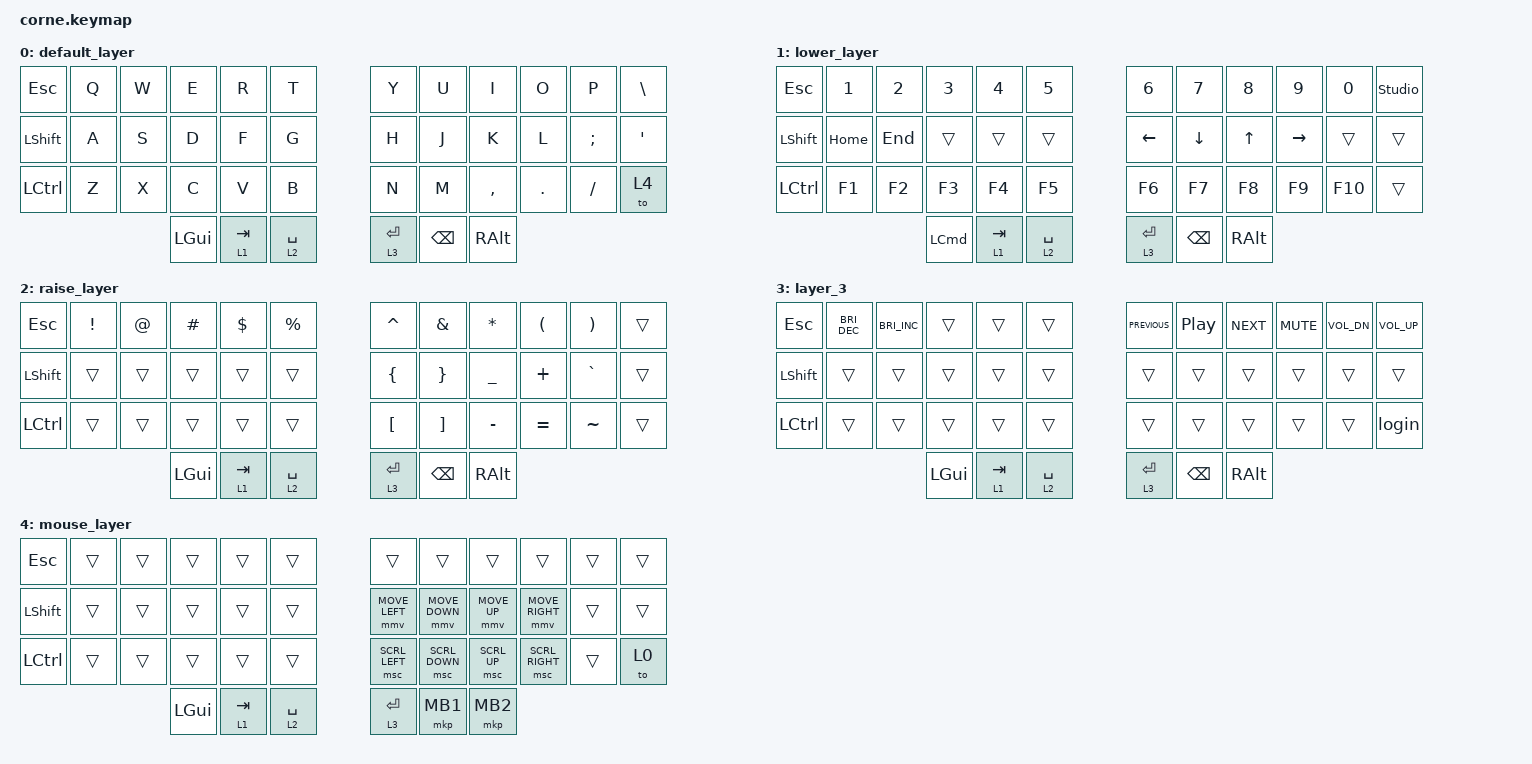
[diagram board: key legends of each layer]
/*
 * Copyright (c) 2020 The ZMK Contributors
 *
 * SPDX-License-Identifier: MIT
 */

#include <behaviors.dtsi>
#include <dt-bindings/zmk/keys.h>
#include <dt-bindings/zmk/pointing.h>

/ {
    macros {
        tmux_leader: new_macro {
            compatible = "zmk,behavior-macro";
            #binding-cells = <0>;
            bindings = <&kp LC(B)>;
            label = "NEW_MACRO";
        };

        tmux_create_window: move_to_window_2 {
            compatible = "zmk,behavior-macro";
            #binding-cells = <0>;
            bindings = <&tmux_leader &kp C>;
            label = "MOVE_TO_WINDOW_2";
        };

        tmux_delete_window: move_to_window_3 {
            compatible = "zmk,behavior-macro";
            #binding-cells = <0>;
            bindings = <&tmux_leader &kp LS(AMPERSAND)>;
            label = "MOVE_TO_WINDOW_3";
        };

        tmux_next_window: move_to_window_4 {
            compatible = "zmk,behavior-macro";
            #binding-cells = <0>;
            bindings = <&tmux_leader &kp N>;
            label = "MOVE_TO_WINDOW_4";
        };

        tmux_prev_window: move_to_window_5 {
            compatible = "zmk,behavior-macro";
            #binding-cells = <0>;
            bindings = <&tmux_leader &kp P>;
            label = "MOVE_TO_WINDOW_5";
        };

        tmux_close: move_to_window_6 {
            compatible = "zmk,behavior-macro";
            #binding-cells = <0>;
            bindings = <&tmux_leader &kp D>;
            label = "MOVE_TO_WINDOW_6";
        };

        tmux_split_hori: move_to_window_7 {
            compatible = "zmk,behavior-macro";
            #binding-cells = <0>;
            bindings = <&tmux_leader &kp MINUS>;
            label = "MOVE_TO_WINDOW_7";
        };

        tmux_split_vert: move_to_window_8 {
            compatible = "zmk,behavior-macro";
            #binding-cells = <0>;
            bindings = <&tmux_leader &kp PIPE>;
            label = "MOVE_TO_WINDOW_8";
        };

        screen_shot: screen_shot {
            compatible = "zmk,behavior-macro";
            #binding-cells = <0>;
            bindings = <&kp LEFT_COMMAND &kp LS(NUMBER_4)>;
            label = "SCREEN_SHOT";
        };

        login: login {
            compatible = "zmk,behavior-macro";
            #binding-cells = <0>;
            bindings = <&kp LC(LA(DELETE))>;
            label = "LOGIN";
        };
    };

    keymap {
        compatible = "zmk,keymap";

        default_layer {
            // -----------------------------------------------------------------------------------------
            // |  TAB |  Q  |  W  |  E  |  R  |  T  |   |  Y  |  U   |  I  |  O  |  P  | BSPC |
            // | CTRL |  A  |  S  |  D  |  F  |  G  |   |  H  |  J   |  K  |  L  |  ;  |  '   |
            // | SHFT |  Z  |  X  |  C  |  V  |  B  |   |  N  |  M   |  ,  |  .  |  /  | ESC  |
            //                    | GUI | LWR | SPC |   | ENT | RSE  | ALT |

            bindings = <
&kp ESCAPE      &kp Q  &kp W  &kp E     &kp R      &kp T          &kp Y        &kp U          &kp I      &kp O    &kp P     &kp BSLH
&kp LEFT_SHIFT  &kp A  &kp S  &kp D     &kp F      &kp G          &kp H        &kp J          &kp K      &kp L    &kp SEMI  &kp SQT
&kp LCTRL       &kp Z  &kp X  &kp C     &kp V      &kp B          &kp N        &kp M          &kp COMMA  &kp DOT  &kp FSLH  &to 4
                              &kp LGUI  &lt 1 TAB  &lt 2 SPACE    &lt 3 ENTER  &kp BACKSPACE  &kp RALT
            >;
        };

        lower_layer {
            // -----------------------------------------------------------------------------------------
            // |  TAB |  1  |  2  |  3  |  4  |  5  |   |  6  |  7  |  8  |  9  |  0  | BSPC |
            // | BTCLR| BT1 | BT2 | BT3 | BT4 | BT5 |   | LFT | DWN |  UP | RGT |     |      |
            // | SHFT |     |     |     |     |     |   |     |     |     |     |     |      |
            //                    | GUI |     | SPC |   | ENT |     | ALT |

            bindings = <
&kp ESCAPE        &kp N1    &kp N2   &kp N3            &kp N4     &kp N5         &kp N6       &kp N7         &kp N8    &kp N9     &kp N0   &studio_unlock
&kp LEFT_SHIFT    &kp HOME  &kp END  &trans            &trans     &trans         &kp LEFT     &kp DOWN       &kp UP    &kp RIGHT  &trans   &trans
&kp LEFT_CONTROL  &kp F1    &kp F2   &kp F3            &kp F4     &kp F5         &kp F6       &kp F7         &kp F8    &kp F9     &kp F10  &trans
                                     &kp LEFT_COMMAND  &lt 1 TAB  &lt 2 SPACE    &lt 3 ENTER  &kp BACKSPACE  &kp RALT
            >;
        };

        raise_layer {
            // -----------------------------------------------------------------------------------------
            // |  TAB |  !  |  @  |  #  |  $  |  %  |   |  ^  |  &  |  *  |  (  |  )  | BSPC |
            // | CTRL |     |     |     |     |     |   |  -  |  =  |  [  |  ]  |  \  |  `   |
            // | SHFT |     |     |     |     |     |   |  _  |  +  |  {  |  }  | "|" |  ~   |
            //                    | GUI |     | SPC |   | ENT |     | ALT |

            bindings = <
&kp ESCAPE        &kp EXCL  &kp AT  &kp HASH  &kp DLLR   &kp PRCNT      &kp CARET         &kp AMPS           &kp ASTRK       &kp LPAR   &kp RPAR   &trans
&kp LEFT_SHIFT    &trans    &trans  &trans    &trans     &trans         &kp LEFT_BRACE    &kp RIGHT_BRACE    &kp UNDERSCORE  &kp PLUS   &kp GRAVE  &trans
&kp LEFT_CONTROL  &trans    &trans  &trans    &trans     &trans         &kp LEFT_BRACKET  &kp RIGHT_BRACKET  &kp MINUS       &kp EQUAL  &kp TILDE  &trans
                                    &kp LGUI  &lt 1 TAB  &lt 2 SPACE    &lt 3 ENTER       &kp BACKSPACE      &kp RALT
            >;
        };

        layer_3 {
            bindings = <
&kp ESC    &kp C_BRI_DEC  &kp C_BRI_INC  &trans    &trans     &trans         &kp C_PREVIOUS  &kp C_PP       &kp C_NEXT  &kp C_MUTE  &kp C_VOL_DN  &kp C_VOL_UP
&kp LSHFT  &trans         &trans         &trans    &trans     &trans         &trans          &trans         &trans      &trans      &trans        &trans
&kp LCTRL  &trans         &trans         &trans    &trans     &trans         &trans          &trans         &trans      &trans      &trans        &login
                                         &kp LGUI  &lt 1 TAB  &lt 2 SPACE    &lt 3 ENTER     &kp BACKSPACE  &kp RALT
            >;
        };

        mouse_layer {
            bindings = <
&kp ESC    &trans  &trans  &trans    &trans     &trans         &trans          &trans          &trans        &trans           &trans  &trans
&kp LSHFT  &trans  &trans  &trans    &trans     &trans         &mmv MOVE_LEFT  &mmv MOVE_DOWN  &mmv MOVE_UP  &mmv MOVE_RIGHT  &trans  &trans
&kp LCTRL  &trans  &trans  &trans    &trans     &trans         &msc SCRL_LEFT  &msc SCRL_DOWN  &msc SCRL_UP  &msc SCRL_RIGHT  &trans  &to 0
                           &kp LGUI  &lt 1 TAB  &lt 2 SPACE    &lt 3 ENTER     &mkp MB1        &mkp MB2
            >;
        };
    };
};
